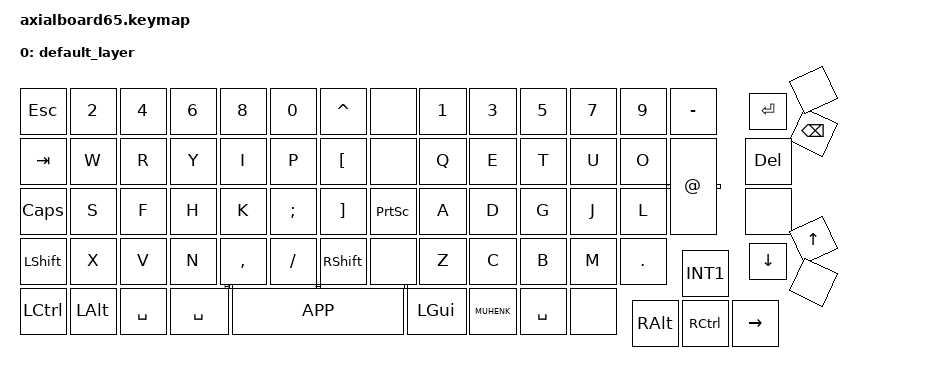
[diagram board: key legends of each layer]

#include <behaviors.dtsi>
#include <dt-bindings/zmk/keys.h>

/ {
    keymap {
        compatible = "zmk,keymap";

        default_layer {
            bindings = <
                &kp ESC     &kp N2     &kp N4     &kp N6     &kp N8     &kp N0     &kp CARET   &none
                &kp N1      &kp N3     &kp N5     &kp N7     &kp N9     &kp MINUS  &kp BSPC    &none
                &kp TAB     &kp W      &kp R      &kp Y      &kp I      &kp P      &kp LBKT    &none
                &kp Q       &kp E      &kp T      &kp U      &kp O      &kp AT     &kp ENTER   &kp DEL
                &kp CAPS    &kp S      &kp F      &kp H      &kp K      &kp SEMI   &kp RBKT    &kp PSCRN
                &kp A       &kp D      &kp G      &kp J      &kp L      &kp COLON  &none       &none
                &kp LSHIFT  &kp X      &kp V      &kp N      &kp COMMA  &kp SLASH  &kp RSHIFT  &none
                &kp Z       &kp C      &kp B      &kp M      &kp DOT    &kp INT1   &kp UP      &none
                &kp LCTRL   &kp LALT   &kp SPACE  &kp SPACE  &kp HENK   &kp K_APP   &kp LEFT    &none
                &kp LGUI    &kp MUHENK &kp SPACE  &none      &kp RALT   &kp RCTRL  &kp DOWN    &kp RIGHT
            >;
        };
    };
};
